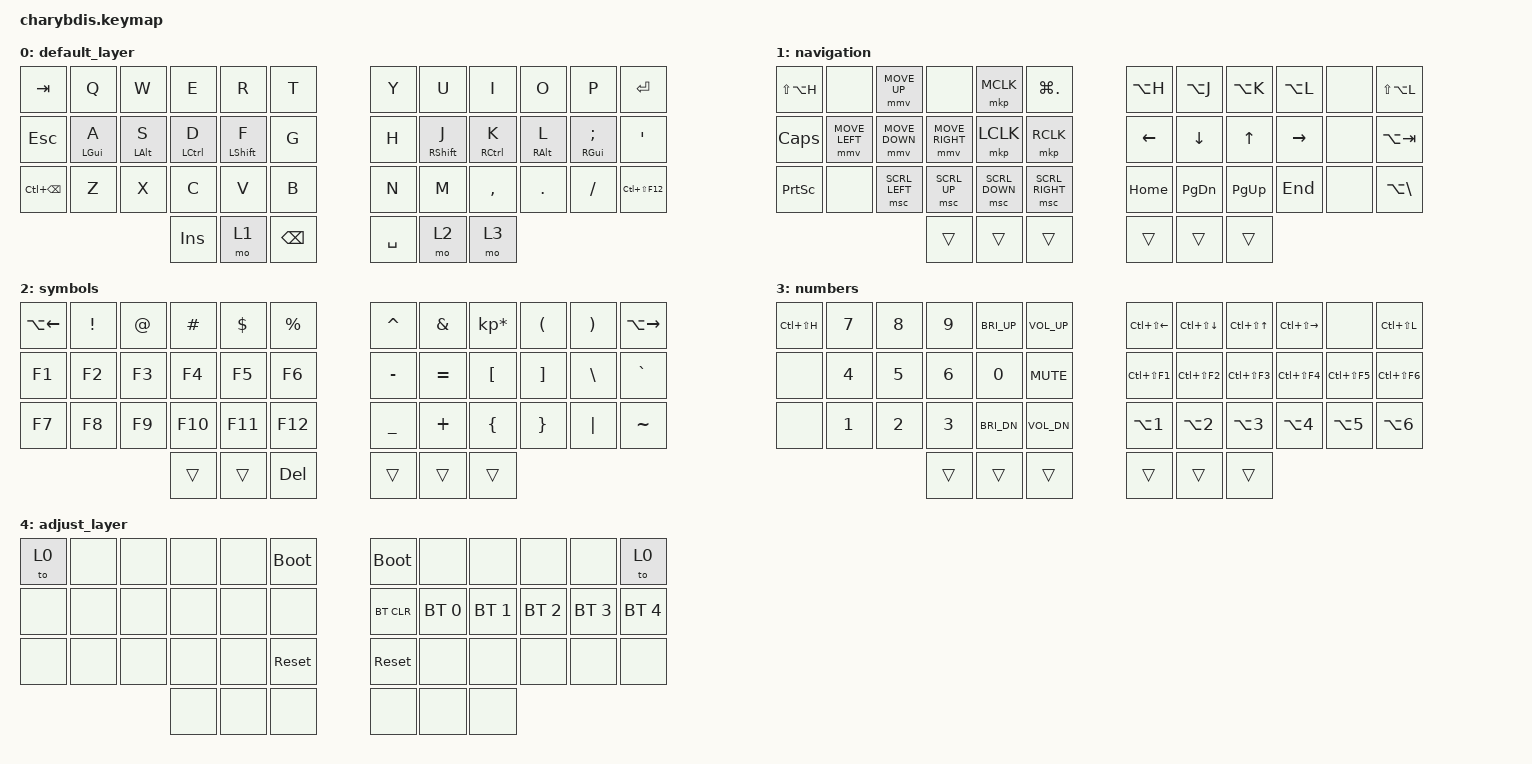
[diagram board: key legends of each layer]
#include <behaviors/mouse_keys.dtsi>
#include <dt-bindings/zmk/mouse.h>
#include <behaviors.dtsi>
#include <dt-bindings/zmk/bt.h>
#include <dt-bindings/zmk/keys.h>

// https://zmk.dev/docs/keymaps/behaviors/mouse-emulation#mouse-emulation-defines
#define ZMK_POINTING_DEFAULT_MOVE_VAL 1500  // default: 600
#define ZMK_POINTING_DEFAULT_SCRL_VAL 15    // default: 10

#include <dt-bindings/zmk/pointing.h>

&mmv {
    time-to-max-speed-ms = <300>;
    acceleration-exponent = <1>;
};

&msc {
    time-to-max-speed-ms = <1000>;
    acceleration-exponent = <0>;
};

/ {
    chosen { zmk,matrix_transform = &default_transform; };
};

/ {
    behaviors {
        hml: home_row_mod_left {
            compatible = "zmk,behavior-hold-tap";
            #binding-cells = <2>;
            flavor = "balanced";
            require-prior-idle-ms = <75>;
            tapping-term-ms = <280>;
            quick-tap-ms = <175>;
            bindings = <&kp>, <&kp>;
            // TRIGGER: Right Hand Keys (Indices 6-11, 18-23, 30-35) + Right Thumbs (39-41)
            hold-trigger-key-positions = <6 7 8 9 10 11 18 19 20 21 22 23 30 31 32 33 34 35 39 40 41>;
            hold-trigger-on-release;
        };

        hmr: home_row_mod_right {
            compatible = "zmk,behavior-hold-tap";
            #binding-cells = <2>;
            flavor = "balanced";
            require-prior-idle-ms = <75>;
            tapping-term-ms = <280>;
            quick-tap-ms = <175>;
            bindings = <&kp>, <&kp>;
            // TRIGGER: Left Hand Keys (Indices 0-5, 12-17, 24-29) + Left Thumbs (36-38)
            hold-trigger-key-positions = <0 1 2 3 4 5 12 13 14 15 16 17 24 25 26 27 28 29 36 37 38>;
            hold-trigger-on-release;
        };
    };


    combos {

// 00	01	02	03	04	05		06	07	08	09	10	11
// 12	13	14	15	16	17		18	19	20	21	22	23
// 24	25	26	27	28	29		30	31	32	33	34	35
//            36	37	38		39	40	41

        compatible = "zmk,combos";

        EnableAdjust {
            bindings = <&to 4>;
            key-positions = <0 11>;
        };
    };


    keymap {
        compatible = "zmk,keymap";

        default_layer {
            bindings = <
&kp TAB       &kp Q        &kp W        &kp E             &kp R          &kp T     &kp Y      &kp U          &kp I          &kp O        &kp P           &kp RET
&kp ESC       &hml LGUI A  &hml LALT S  &hml LCTL D       &hml LSHIFT F  &kp G     &kp H      &hmr RSHIFT J  &hmr RCTL K    &hmr RALT L  &hmr RGUI SEMI  &kp SQT
&kp LC(BSPC)  &kp Z        &kp X        &kp C             &kp V          &kp B     &kp N      &kp M          &kp COMMA      &kp DOT      &kp FSLH        &kp LC(LS(F12))
                                        &kp INSERT        &mo 1          &kp BSPC  &kp SPACE  &mo 2          &mo 3
            >;
        };

        navigation {
            bindings = <
&kp LS(LA(H))   &none           &mmv MOVE_UP     &none            &mkp MCLK       &kp LG(DOT)     &kp LA(H)  &kp LA(J)      &kp LA(K)    &kp LA(L)  &none  &kp LS(LA(L))
&kp CAPS        &mmv MOVE_LEFT  &mmv MOVE_DOWN   &mmv MOVE_RIGHT  &mkp LCLK       &mkp RCLK       &kp LEFT   &kp DOWN       &kp UP       &kp RIGHT  &none  &kp LA(TAB)
&kp PSCRN       &none           &msc SCRL_LEFT   &msc SCRL_UP     &msc SCRL_DOWN  &msc SCRL_RIGHT &kp HOME   &kp PAGE_DOWN  &kp PAGE_UP  &kp END    &none  &kp LA(BACKSLASH)
                                                 &trans           &trans          &trans          &trans     &trans         &trans
            >;
        };

        symbols {
            bindings = <
&kp LA(LEFT)  &kp EXCL  &kp AT   &kp HASH  &kp DLLR   &kp PRCNT   &kp CARET   &kp AMPS  &kp KP_MULTIPLY  &kp LPAR  &kp RPAR  &kp LA(RIGHT)
&kp F1        &kp F2    &kp F3   &kp F4    &kp F5     &kp F6      &kp MINUS   &kp EQUAL &kp LBKT         &kp RBKT  &kp BSLH  &kp GRAVE
&kp F7        &kp F8    &kp F9   &kp F10   &kp F11    &kp F12     &kp UNDER   &kp PLUS  &kp LBRC         &kp RBRC  &kp PIPE  &kp TILDE
                                 &trans    &trans     &kp DELETE  &trans      &trans    &trans
            >;
        };

        numbers {
            bindings = <
&kp LC(LS(H))  &kp NUMBER_7  &kp NUMBER_8  &kp NUMBER_9  &kp C_BRI_UP  &kp C_VOL_UP  &kp LC(LS(LEFT)) &kp LC(LS(DOWN)) &kp LC(LS(UP))  &kp LC(LS(RIGHT)) &none          &kp LC(LS(L))
&none          &kp NUMBER_4  &kp NUMBER_5  &kp NUMBER_6  &kp NUMBER_0  &kp C_MUTE    &kp LC(LS(F1))   &kp LC(LS(F2))   &kp LC(LS(F3))  &kp LC(LS(F4))    &kp LC(LS(F5)) &kp LC(LS(F6))
&none          &kp NUMBER_1  &kp NUMBER_2  &kp NUMBER_3  &kp C_BRI_DN  &kp C_VOL_DN  &kp LA(N1)       &kp LA(N2)       &kp LA(N3)      &kp LA(N4)        &kp LA(N5)     &kp LA(N6)
                                           &trans        &trans        &trans        &trans           &trans           &trans
            >;
        };

        adjust_layer {
            bindings = <
&to 0        &none         &none         &none         &none         &bootloader     &bootloader   &none         &none         &none         &none         &to 0
&none        &none         &none         &none         &none         &none           &bt BT_CLR    &bt BT_SEL 0  &bt BT_SEL 1  &bt BT_SEL 2  &bt BT_SEL 3  &bt BT_SEL 4
&none        &none         &none         &none         &none         &sys_reset      &sys_reset    &none         &none         &none         &none         &none
                                         &none         &none         &none           &none         &none         &none
            >;
        };



    };
};
